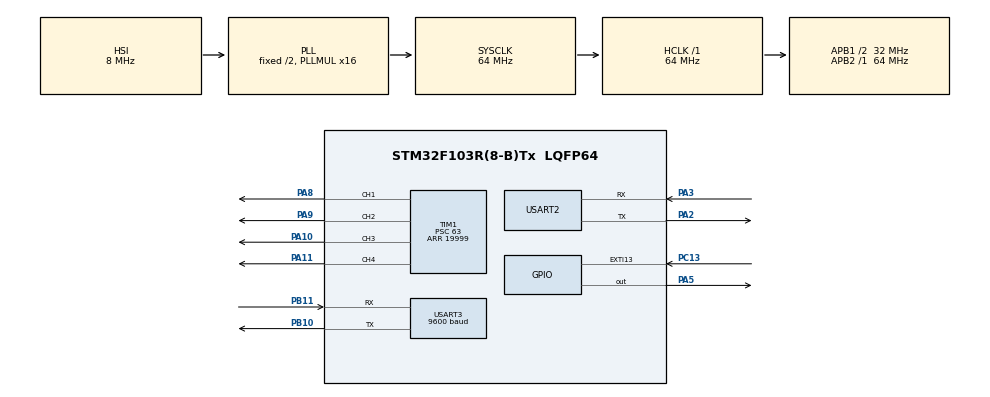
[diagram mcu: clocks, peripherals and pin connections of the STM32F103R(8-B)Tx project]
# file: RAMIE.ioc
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Dma.Request0=TIM1_CH1
Dma.Request1=TIM1_CH2
Dma.Request2=TIM1_CH3
Dma.Request3=TIM1_CH4/TRIG/COM
Dma.TIM1_CH1.0.Direction=DMA_MEMORY_TO_PERIPH
Dma.TIM1_CH1.0.Instance=DMA1_Channel2
Dma.TIM1_CH1.0.MemDataAlignment=DMA_MDATAALIGN_HALFWORD
Dma.TIM1_CH1.0.MemInc=DMA_MINC_ENABLE
Dma.TIM1_CH1.0.Mode=DMA_CIRCULAR
Dma.TIM1_CH1.0.PeriphDataAlignment=DMA_PDATAALIGN_HALFWORD
Dma.TIM1_CH1.0.PeriphInc=DMA_PINC_DISABLE
Dma.TIM1_CH1.0.Priority=DMA_PRIORITY_LOW
Dma.TIM1_CH2.1.Direction=DMA_MEMORY_TO_PERIPH
Dma.TIM1_CH2.1.Instance=DMA1_Channel3
Dma.TIM1_CH2.1.MemDataAlignment=DMA_MDATAALIGN_HALFWORD
Dma.TIM1_CH2.1.MemInc=DMA_MINC_ENABLE
Dma.TIM1_CH2.1.Mode=DMA_CIRCULAR
Dma.TIM1_CH2.1.PeriphDataAlignment=DMA_PDATAALIGN_HALFWORD
Dma.TIM1_CH2.1.PeriphInc=DMA_PINC_DISABLE
Dma.TIM1_CH2.1.Priority=DMA_PRIORITY_LOW
Dma.TIM1_CH3.2.Direction=DMA_MEMORY_TO_PERIPH
Dma.TIM1_CH3.2.Instance=DMA1_Channel6
Dma.TIM1_CH3.2.MemDataAlignment=DMA_MDATAALIGN_HALFWORD
Dma.TIM1_CH3.2.MemInc=DMA_MINC_ENABLE
Dma.TIM1_CH3.2.Mode=DMA_CIRCULAR
Dma.TIM1_CH3.2.PeriphDataAlignment=DMA_PDATAALIGN_HALFWORD
Dma.TIM1_CH3.2.PeriphInc=DMA_PINC_DISABLE
Dma.TIM1_CH3.2.Priority=DMA_PRIORITY_LOW
Dma.TIM1_CH4/TRIG/COM.3.Direction=DMA_MEMORY_TO_PERIPH
Dma.TIM1_CH4/TRIG/COM.3.Instance=DMA1_Channel4
Dma.TIM1_CH4/TRIG/COM.3.MemDataAlignment=DMA_MDATAALIGN_HALFWORD
Dma.TIM1_CH4/TRIG/COM.3.MemInc=DMA_MINC_ENABLE
Dma.TIM1_CH4/TRIG/COM.3.Mode=DMA_CIRCULAR
Dma.TIM1_CH4/TRIG/COM.3.PeriphDataAlignment=DMA_PDATAALIGN_HALFWORD
Dma.TIM1_CH4/TRIG/COM.3.PeriphInc=DMA_PINC_DISABLE
Dma.TIM1_CH4/TRIG/COM.3.Priority=DMA_PRIORITY_LOW
Mcu.Family=STM32F1
Mcu.Name=STM32F103R(8-B)Tx
Mcu.Package=LQFP64
NVIC.DMA1_Channel2_IRQn=true\:0\:0\:false\:false\:true\:false\:true
NVIC.DMA1_Channel3_IRQn=true\:0\:0\:false\:false\:true\:false\:true
NVIC.DMA1_Channel4_IRQn=true\:0\:0\:false\:false\:true\:false\:true
NVIC.DMA1_Channel6_IRQn=true\:0\:0\:false\:false\:true\:false\:true
NVIC.EXTI15_10_IRQn=true\:0\:0\:false\:false\:true\:true\:true
NVIC.PriorityGroup=NVIC_PRIORITYGROUP_4
NVIC.USART3_IRQn=true\:0\:0\:false\:false\:true\:true\:true
PA10.Signal=S_TIM1_CH3
PA11.Signal=S_TIM1_CH4
PA13.Mode=Serial_Wire
PA13.Signal=SYS_JTMS-SWDIO
PA14.Mode=Serial_Wire
PA14.Signal=SYS_JTCK-SWCLK
PA2.GPIO_Mode=GPIO_MODE_AF_PP
PA2.GPIO_PuPd=GPIO_NOPULL
PA2.GPIO_Speed=GPIO_SPEED_FREQ_HIGH
PA2.Mode=Asynchronous
PA2.Signal=USART2_TX
PA3.GPIO_Mode=GPIO_MODE_INPUT
PA3.GPIO_PuPd=GPIO_NOPULL
PA3.GPIO_Speed=GPIO_SPEED_FREQ_LOW
PA3.Mode=Asynchronous
PA3.Signal=USART2_RX
PA5.GPIO_ModeDefaultOutputPP=GPIO_MODE_OUTPUT_PP
PA5.GPIO_PuPd=GPIO_NOPULL
PA5.GPIO_Speed=GPIO_SPEED_FREQ_LOW
PA5.PinState=GPIO_PIN_RESET
PA5.Signal=GPIO_Output
PA8.Signal=S_TIM1_CH1
PA9.Signal=S_TIM1_CH2
PB10.Mode=Asynchronous
PB10.Signal=USART3_TX
PB11.Mode=Asynchronous
PB11.Signal=USART3_RX
PB3.Signal=SYS_JTDO-TRACESWO
PC13-TAMPER-RTC.GPIO_ModeDefaultEXTI=GPIO_MODE_IT_RISING
PC13-TAMPER-RTC.GPIO_PuPd=GPIO_NOPULL
PC13-TAMPER-RTC.Signal=GPXTI13
PC14-OSC32_IN.Mode=LSE-External-Oscillator
PC14-OSC32_IN.Signal=RCC_OSC32_IN
PC15-OSC32_OUT.Mode=LSE-External-Oscillator
PC15-OSC32_OUT.Signal=RCC_OSC32_OUT
PD0-OSC_IN.Mode=HSE-External-Clock-Source
PD0-OSC_IN.Signal=RCC_OSC_IN
PD1-OSC_OUT.Mode=HSE-External-Clock-Source
PD1-OSC_OUT.Signal=RCC_OSC_OUT
ProjectManager.HeapSize=0x200
ProjectManager.StackSize=0x400
ProjectManager.TargetToolchain=TrueSTUDIO
RCC.AHBFreq_Value=64000000
RCC.APB1CLKDivider=RCC_HCLK_DIV2
RCC.APB1Freq_Value=32000000
RCC.APB1TimFreq_Value=64000000
RCC.APB2Freq_Value=64000000
RCC.APB2TimFreq_Value=64000000
RCC.HCLKFreq_Value=64000000
RCC.PLLMUL=RCC_PLL_MUL16
RCC.RTCClockSelection=RCC_RTCCLKSOURCE_LSE
RCC.SYSCLKFreq_VALUE=64000000
RCC.SYSCLKSource=RCC_SYSCLKSOURCE_PLLCLK
RCC.USBFreq_Value=64000000
SH.S_TIM1_CH1.0=TIM1_CH1,PWM Generation1 CH1
SH.S_TIM1_CH2.0=TIM1_CH2,PWM Generation2 CH2
SH.S_TIM1_CH3.0=TIM1_CH3,PWM Generation3 CH3
SH.S_TIM1_CH4.0=TIM1_CH4,PWM Generation4 CH4
TIM1.Channel-PWM\ Generation1\ CH1=TIM_CHANNEL_1
TIM1.Channel-PWM\ Generation2\ CH2=TIM_CHANNEL_2
TIM1.Channel-PWM\ Generation3\ CH3=TIM_CHANNEL_3
TIM1.Channel-PWM\ Generation4\ CH4=TIM_CHANNEL_4
TIM1.Period=19999
TIM1.Prescaler=63
USART2.VirtualMode=VM_ASYNC
USART3.BaudRate=9600
USART3.VirtualMode=VM_ASYNC
VP_TIM1_VS_ClockSourceINT.Mode=Internal
board=NUCLEO-F103RB

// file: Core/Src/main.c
/* USER CODE BEGIN Header */
/**
  ******************************************************************************
  * @file           : main.c
  * @brief          : Main program body
  ******************************************************************************
  * @attention
  *
  * <h2><center>&copy; Copyright (c) 2020 STMicroelectronics.
  * All rights reserved.</center></h2>
  *
  * This software component is licensed by ST under BSD 3-Clause license,
  * the "License"; You may not use this file except in compliance with the
  * License. You may obtain a copy of the License at:
  *                        opensource.org/licenses/BSD-3-Clause
  *
  ******************************************************************************
  */
/* USER CODE END Header */

#include "main.h"
#include "dma.h"
#include "tim.h"
#include "usart.h"
#include "gpio.h"

/* USER CODE BEGIN Includes */
#include "serwo.h"
#include "ARM_RECEIVER.h"
/* USER CODE END Includes */

/* USER CODE BEGIN PV */
uint8_t Frame[3],Received[10];
/* USER CODE END PV */

void SystemClock_Config(void);
/* USER CODE BEGIN PFP */
void HAL_UART_RxCpltCallback(UART_HandleTypeDef *huart);
void HAL_SYSTICK_Callback();
/* USER CODE END PFP */

int main(void)
{

  /* MCU Configuration--------------------------------------------------------*/

  /* Reset of all peripherals, Initializes the Flash interface and the Systick. */
  HAL_Init();

  /* Configure the system clock */
  SystemClock_Config();

  /* Initialize all configured peripherals */
  MX_GPIO_Init();
  MX_DMA_Init();
  MX_TIM1_Init();
  MX_USART2_UART_Init();
  MX_USART3_UART_Init();
  /* USER CODE BEGIN 2 */
    HAL_TIM_PWM_Start(&htim1, TIM_CHANNEL_1);
    HAL_TIM_PWM_Start(&htim1, TIM_CHANNEL_2);
    HAL_TIM_PWM_Start(&htim1, TIM_CHANNEL_3);
    HAL_TIM_PWM_Start(&htim1, TIM_CHANNEL_4);
    HAL_UART_Receive_IT(&huart3, Received, 10);
  /* USER CODE END 2 */

  /* Infinite loop */
  while (1)
  {

    /* USER CODE BEGIN 3 */
	  ARM_RECEIVER(Frame,Received); //User's function from ARM_RECEIVER file

  }
  /* USER CODE END 3 */
}

void SystemClock_Config(void)
{
  RCC_OscInitTypeDef RCC_OscInitStruct = {0};
  RCC_ClkInitTypeDef RCC_ClkInitStruct = {0};

  /** Initializes the CPU, AHB and APB busses clocks
  */
  RCC_OscInitStruct.OscillatorType = RCC_OSCILLATORTYPE_HSI;
  RCC_OscInitStruct.HSIState = RCC_HSI_ON;
  RCC_OscInitStruct.HSICalibrationValue = RCC_HSICALIBRATION_DEFAULT;
  RCC_OscInitStruct.PLL.PLLState = RCC_PLL_ON;
  RCC_OscInitStruct.PLL.PLLSource = RCC_PLLSOURCE_HSI_DIV2;
  RCC_OscInitStruct.PLL.PLLMUL = RCC_PLL_MUL16;
  if (HAL_RCC_OscConfig(&RCC_OscInitStruct) != HAL_OK)
  {
    Error_Handler();
  }
  /** Initializes the CPU, AHB and APB busses clocks
  */
  RCC_ClkInitStruct.ClockType = RCC_CLOCKTYPE_HCLK|RCC_CLOCKTYPE_SYSCLK
                              |RCC_CLOCKTYPE_PCLK1|RCC_CLOCKTYPE_PCLK2;
  RCC_ClkInitStruct.SYSCLKSource = RCC_SYSCLKSOURCE_PLLCLK;
  RCC_ClkInitStruct.AHBCLKDivider = RCC_SYSCLK_DIV1;
  RCC_ClkInitStruct.APB1CLKDivider = RCC_HCLK_DIV2;
  RCC_ClkInitStruct.APB2CLKDivider = RCC_HCLK_DIV1;

  if (HAL_RCC_ClockConfig(&RCC_ClkInitStruct, FLASH_LATENCY_2) != HAL_OK)
  {
    Error_Handler();
  }
}

/* USER CODE BEGIN 4 */
void HAL_UART_RxCpltCallback(UART_HandleTypeDef *huart)
{

	 HAL_UART_Receive_IT(&huart3, Received, 10); // Ponowne w³¹czenie nas³uchiwania
	 HAL_GPIO_TogglePin(GPIOA,GPIO_PIN_5);

}
void HAL_SYSTICK_Callback()
{
	switch (Frame[0])
	{
	case 65:
		Servo_set_angle(&htim1, TIM_CHANNEL_1,Frame[1]);
	break;
	case 68:
		Servo_set_angle(&htim1, TIM_CHANNEL_2,Frame[1]);
	break;
	case 69:
		Servo_set_angle(&htim1, TIM_CHANNEL_3,Frame[1]);
	break;
	case 70:
		Servo_set_angle(&htim1, TIM_CHANNEL_4,Frame[1]);
	break;
	default:
	break;
	}
	/*	if(Frame[0]==65)
		{
			serwo_1=A[1]*licznik/180+400;
			TIM1->CCR1=serwo_1;

			set_angle(&htim1, TIM_CHANNEL_1,Frame[1]);//User's function from serwo file
		}
		if(Frame[0]==68)
		{
			serwo_2=A[1]*licznik/180+400;
			TIM1->CCR2=serwo_2;

			set_angle(&htim1, TIM_CHANNEL_2,Frame[1]);
		}
		if(Frame[0]==69)
		{
			serwo_3=A[1]*licznik/180+400;
			TIM1->CCR3=serwo_3;

			set_angle(&htim1, TIM_CHANNEL_3,Frame[1]);
		}
		if(Frame[0]==70)
		{
			serwo_4=A[1]*licznik/180+400;
			TIM1->CCR4=serwo_4;

			set_angle(&htim1, TIM_CHANNEL_4,Frame[1]);
	*/
}

/* USER CODE END 4 */

void Error_Handler(void)
{
}

/************************ (C) COPYRIGHT STMicroelectronics *****END OF FILE****/
